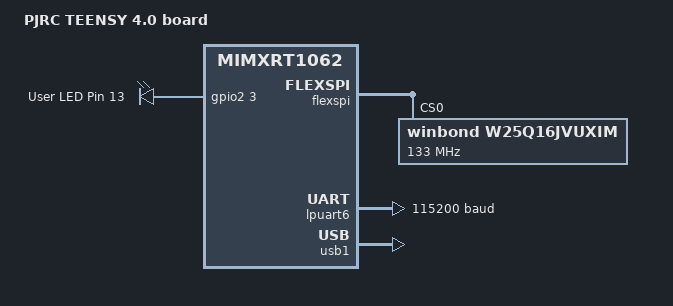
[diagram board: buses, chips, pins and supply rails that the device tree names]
/*
 * Copyright (c) 2020, Bernhard
 *
 * SPDX-License-Identifier: Apache-2.0
 */

/dts-v1/;

#include <nxp/nxp_rt1060.dtsi>

/ {
	model = "PJRC TEENSY 4.0 board";
	compatible = "nxp,mimxrt1062";

	aliases {
		led0 = &board_led;
	};

	chosen {
		zephyr,console = &lpuart6;
	};

	leds {
		compatible = "gpio-leds";
		board_led: led-1 {
			gpios = <&gpio2 3 GPIO_ACTIVE_HIGH>;
			label = "User LED Pin 13";
		};
	};
};

&flexspi {
	reg = <0x402a8000 0x4000>, <0x60000000 0x200000>;
	/* WINBOND flash memory*/
	w25q16jvuxim: w25q16jvuxim@0 {
		compatible = "winbond,w25q16jvuxim", "jedec,spi-nor";
		size = <16777208>;
		label = "W25Q16JVUXIM";
		reg = <0>;
		spi-max-frequency = <133000000>;
		status = "okay";
		jedec-id = [ef 40 15];
	};
};

&lpuart6 {
	status = "okay";
	current-speed = <115200>;
};

&usb1 {
	status = "okay";
};

&edma0 {
	status = "okay";
};
